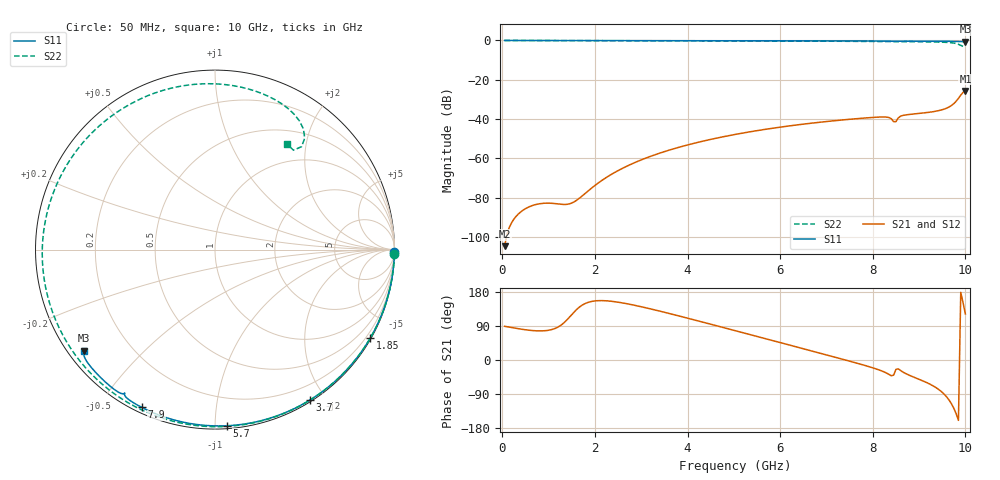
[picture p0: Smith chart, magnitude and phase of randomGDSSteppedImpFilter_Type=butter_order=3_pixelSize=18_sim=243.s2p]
! freq	dB(S11)	phase(S11)	dB(S12)	phase(S12)
!  dB(S21)	phase(S21)	dB(S22)	phase(S22)
!S-par simulation data
#  GHz  S  DB  R 50
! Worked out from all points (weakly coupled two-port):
!   200 points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, 50 MHz to 10 GHz, reference 50 ohm
!   highest |S21| = -25.74 dB at 10 GHz (marker M1); lowest = -104.6 dB at 50 MHz (marker M2)
!   lowest |S11| = -0.7 dB at 10 GHz (marker M3), VSWR 25.46, Z = 2.19 - j17 ohm
!   |S11| at or under -10 dB: nowhere
!   |S22| runs from -3.0 to 0.0 dB; largest |S21 - S12| = 0
!   S11 on the Smith chart (normalised r, x): 50 MHz: open; 1.85 GHz: 0.03, -3.78; 3.7 GHz: 0.02, -1.81; 5.7 GHz: 0.02, -1.07; 7.9 GHz: 0.02, -0.64; 10 GHz: 0.04, -0.34
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0.05  -0.00 -0.8  -104.60 88.9  -104.60 88.9  -0.00 -1.5
0.85  -0.02 -13.7  -82.89 76.8  -82.89 76.8  -0.03 -24.8
1.65  -0.03 -26.5  -80.48 138.1  -80.48 138.1  -0.06 -47.7
1.75  -0.04 -28.1  -78.57 146.6  -78.57 146.6  -0.06 -50.5
1.85  -0.04 -29.6  -76.58 151.9  -76.58 151.9  -0.07 -53.3
2.5  -0.05 -39.7  -66.18 152.6  -66.18 152.6  -0.09 -71.1
3.4  -0.07 -53.4  -57.29 129.0  -57.29 129.0  -0.12 -95.1
3.7  -0.08 -57.8  -55.09 119.8  -55.09 119.8  -0.14 -102.9
5.05  -0.12 -77.1  -47.69 76.8  -47.69 76.8  -0.21 -137.7
5.7  -0.14 -86.1  -45.12 55.7  -45.12 55.7  -0.25 -154.9
6.7  -0.19 -99.4  -41.99 23.3  -41.99 23.3  -0.34 177.1
7.3  -0.23 -107.2  -40.52 3.6  -40.52 3.6  -0.41 158.6
7.9  -0.27 -114.9  -39.30 -16.9  -39.30 -16.9  -0.48 138.3
8.35  -0.35 -121.0  -39.19 -38.0  -39.19 -38.0  -0.55 121.6
8.5  -0.50 -122.1  -41.27 -24.8  -41.27 -24.8  -0.57 115.7
8.65  -0.36 -123.9  -38.12 -31.8  -38.12 -31.8  -0.59 109.6
9.15  -0.38 -130.6  -36.73 -58.7  -36.73 -58.7  -0.70 87.8
9.55  -0.43 -136.1  -34.85 -91.3  -34.85 -91.3  -0.92 68.1
9.7  -0.45 -138.3  -33.06 -115.8  -33.06 -115.8  -1.17 59.7
9.85  -0.53 -140.7  -29.43 -159.3  -29.43 -159.3  -1.96 51.2
9.95  -0.64 -142.0  -26.38 151.3  -26.38 151.3  -3.03 51.8
10  -0.68 -142.4  -25.74 121.4  -25.74 121.4  -2.94 55.7
